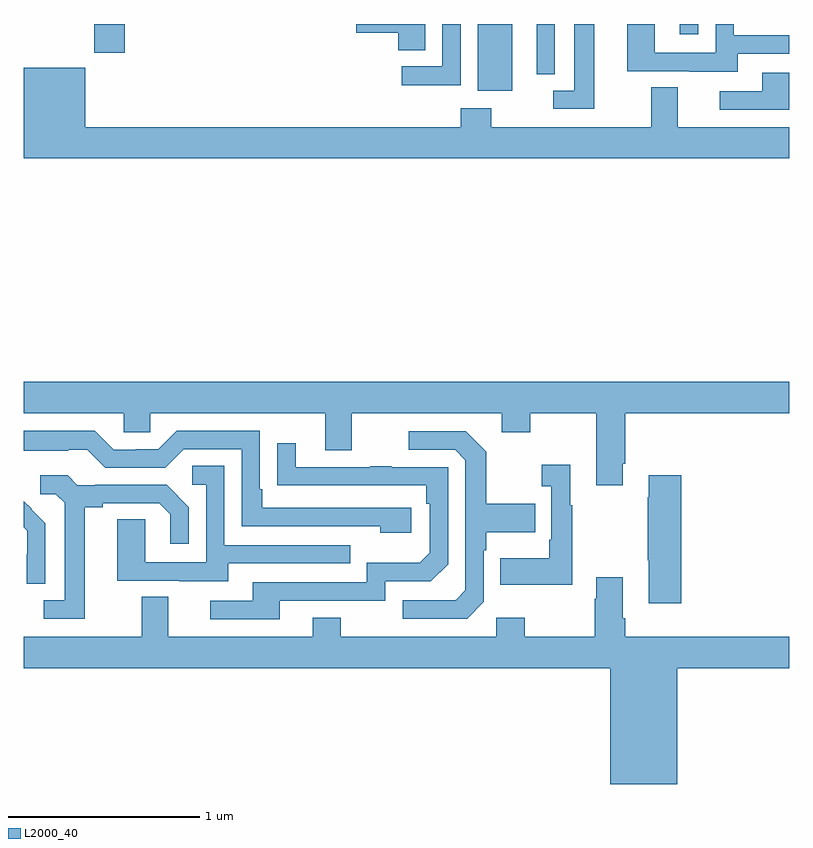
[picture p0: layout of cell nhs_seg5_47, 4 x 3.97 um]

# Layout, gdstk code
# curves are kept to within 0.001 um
import gdstk
lib = gdstk.Library(unit=1e-6, precision=1e-09)
def R(c, l, rs):  # rectangles x0, y0, x1, y1
    for r in rs: c.add(gdstk.rectangle(r[:2], r[2:], *l))
def P(c, l, *ps):  # polygons
    for p in ps: c.add(gdstk.Polygon(p, *l))
L2000_40 = (2000, 40)

nhs_seg5_47 = lib.new_cell('nhs_seg5_47')
R(nhs_seg5_47, L2000_40, [(115.373,854.45,115.552,854.799), (113.368,854.649,113.528,854.799), (116.429,854.745,116.526,854.799)])
P(nhs_seg5_47, L2000_40, [(115.981,854.799),(115.877,854.799),(115.877,854.451),(115.767,854.451),(115.767,854.355),(115.981,854.355)],
  [(115.099,854.799),(114.738,854.799),(114.738,854.753),(114.956,854.753),(114.956,854.662),(115.099,854.662)],
  [(116.731,854.643),(117,854.643),(117,854.739),(116.712,854.739),(116.712,854.799),(116.616,854.799),(116.616,854.649),(116.298,854.649),(116.298,854.799),(116.153,854.799),(116.153,854.553),(116.477,854.553),(116.477,854.549),(116.731,854.549)],
  [(115.284,854.799),(115.188,854.799),(115.188,854.577),(114.975,854.577),(114.975,854.479),(115.284,854.479)],
  [(115.776,854.799),(115.682,854.799),(115.682,854.69),(115.68,854.69),(115.68,854.536),(115.776,854.536)],
  [(117,854.26),(116.419,854.26),(116.419,854.468),(116.279,854.468),(116.279,854.26),(115.443,854.26),(115.443,854.359),(115.283,854.359),(115.283,854.26),(113.32,854.26),(113.32,854.569),(113,854.569),(113,854.096),(117,854.096)],
  [(117,854.544),(116.861,854.544),(116.861,854.448),(116.637,854.448),(116.637,854.352),(117,854.352)],
  [(116.131,852.499),(116.144,852.499),(116.144,852.764),(117,852.764),(117,852.928),(113,852.928),(113,852.764),(113.523,852.764),(113.523,852.666),(113.661,852.666),(113.661,852.764),(114.575,852.764),(114.575,852.57),(114.715,852.57),(114.715,852.764),(115.499,852.764),(115.499,852.665),(115.647,852.665),(115.647,852.764),(115.991,852.764),(115.991,852.387),(116.131,852.387)],
  [(115.024,852.27),(114.247,852.27),(114.247,852.367),(114.234,852.367),(114.234,852.672),(113.799,852.672),(113.703,852.576),(113.585,852.576),(113.585,852.573),(113.469,852.573),(113.369,852.673),(113,852.673),(113,852.569),(113.231,852.569),(113.231,852.573),(113.331,852.573),(113.424,852.48),(113.739,852.48),(113.835,852.576),(114.138,852.576),(114.138,852.174),(114.863,852.174),(114.863,852.14),(115.024,852.14)],
  [(115.404,851.778),(115.404,852.047),(115.417,852.047),(115.417,852.143),(115.673,852.143),(115.673,852.291),(115.417,852.291),(115.417,852.563),(115.311,852.669),(115.011,852.669),(115.011,852.573),(115.254,852.573),(115.308,852.519),(115.308,851.838),(115.257,851.787),(114.981,851.787),(114.981,851.691),(115.317,851.691)],
  [(114.337,851.784),(114.888,851.784),(114.888,851.886),(115.128,851.886),(115.218,851.976),(115.218,852.483),(114.923,852.483),(114.923,852.488),(114.811,852.488),(114.811,852.483),(114.421,852.483),(114.421,852.607),(114.325,852.607),(114.325,852.388),(115.102,852.387),(115.102,852.29),(115.122,852.29),(115.122,852.036),(115.069,851.983),(114.792,851.983),(114.792,851.88),(114.197,851.88),(114.197,851.784),(113.973,851.784),(113.973,851.688),(114.337,851.688)],
  [(115.867,852.283),(115.855,852.283),(115.855,852.496),(115.707,852.496),(115.707,852.383),(115.758,852.383),(115.758,852.103),(115.746,852.103),(115.746,852.007),(115.489,852.007),(115.489,851.867),(115.867,851.867)],
  [(114.067,851.979),(114.707,851.979),(114.707,852.075),(114.048,852.075),(114.048,852.491),(113.88,852.491),(113.88,852.39),(113.952,852.39),(113.952,851.985),(113.634,851.985),(113.634,852.209),(113.489,852.209),(113.489,851.889),(113.813,851.889),(113.813,851.885),(114.067,851.885)],
  [(113.317,852.272),(113.413,852.272),(113.413,852.294),(113.708,852.294),(113.765,852.237),(113.765,852.081),(113.862,852.081),(113.862,852.274),(113.746,852.39),(113.374,852.39),(113.374,852.387),(113.28,852.387),(113.228,852.439),(113.085,852.439),(113.085,852.342),(113.166,852.342),(113.213,852.295),(113.213,851.787),(113.103,851.787),(113.103,851.691),(113.317,851.691)],
  [(116.435,852.439),(116.267,852.439),(116.267,852.326),(116.26,852.326),(116.26,851.995),(116.267,851.995),(116.267,851.772),(116.435,851.772)],
  [(113.112,852.19),(113.039,852.263),(113.04,852.264),(113,852.304),(113,852.167),(113.018,852.149),(113.018,852.026),(113.016,852.026),(113.016,851.872),(113.112,851.872)],
  [(116.416,851.432),(117,851.432),(117,851.596),(116.144,851.596),(116.144,851.692),(116.131,851.692),(116.131,851.908),(115.991,851.908),(115.991,851.795),(115.984,851.795),(115.984,851.596),(115.617,851.596),(115.617,851.695),(115.47,851.695),(115.47,851.596),(114.657,851.596),(114.657,851.695),(114.509,851.695),(114.509,851.596),(113.755,851.596),(113.755,851.804),(113.615,851.804),(113.615,851.596),(113,851.596),(113,851.432),(116.066,851.432),(116.066,850.826),(116.416,850.826)])

lib.write_gds('nhs_seg5_47.gds')
